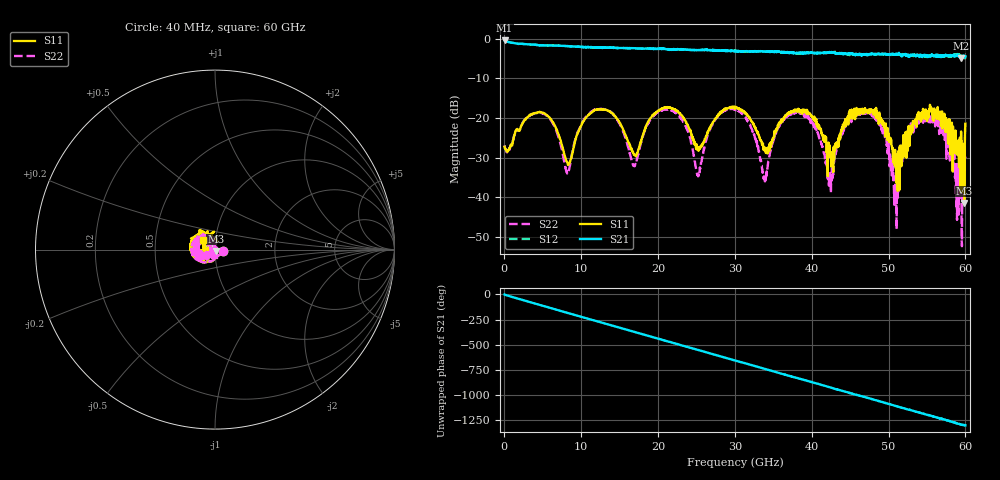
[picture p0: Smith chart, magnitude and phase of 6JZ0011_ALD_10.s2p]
! File created by 'SoftPlot +Plus+ Measurement Management Software'
! SoftPlot +Plus+ Measurement Management Software
! Start 40.000000 MHz  Stop 60.000000 GHz  Points 1601
# MHZ S RI R 50
! S-Parameter data, F S11 S21 S12 S22
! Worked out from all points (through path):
!   1601 points, 40 MHz to 60 GHz, reference 50 ohm
!   highest |S21| = -0.42 dB at 40 MHz (marker M1); lowest = -5.0 dB at 59.4 GHz (marker M2)
!   group delay of S21, straight-line fit = 60.1 ps
!   lowest |S11| = -41.4 dB at 59.85 GHz (marker M3), VSWR 1.02, Z = 50.5 - j0.725 ohm
!   |S11| at or under -10 dB: start of sweep to end of sweep
!   |S22| runs from -52.3 to -17.6 dB; largest |S21 - S12| = 0.071
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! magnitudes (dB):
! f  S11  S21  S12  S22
! 40 MHz  -27.3  -0.4  -0.4  -26.9
! 4.874 GHz  -18.6  -1.7  -1.7  -18.7
! 8.247 GHz  -31.5  -1.8  -1.8  -34.0
! 10.05 GHz  -21.7  -2.1  -2.1  -21.6
! 13.87 GHz  -18.5  -2.3  -2.2  -18.5
! 16.9 GHz  -29.2  -2.4  -2.4  -32.0
! 20.05 GHz  -18.2  -2.6  -2.5  -18.4
! 23.2 GHz  -19.6  -2.7  -2.7  -20.7
! 25.22 GHz  -27.5  -2.8  -2.9  -34.7
! 30.02 GHz  -17.1  -3.0  -3.0  -17.8
! 33.88 GHz  -28.1  -3.2  -3.1  -35.2
! 36.35 GHz  -20.3  -3.3  -3.4  -20.3
! 40.03 GHz  -19.7  -3.4  -3.6  -21.0
! 42.39 GHz  -29.8  -3.4  -3.5  -37.4
! 45.57 GHz  -18.7  -4.1  -3.9  -18.9
! 50.03 GHz  -24.2  -3.9  -3.9  -26.8
! 50.97 GHz  -32.7  -3.9  -4.1  -41.6
! 53.03 GHz  -21.6  -4.2  -4.2  -23.4
! 55.92 GHz  -20.1  -4.5  -4.3  -20.7
! 59.4 GHz  -34.9  -5.0  -4.4  -35.2
! 59.85 GHz  -41.4  -4.8  -4.5  -33.7
! 60 GHz  -21.4  -4.4  -4.5  -30.1
